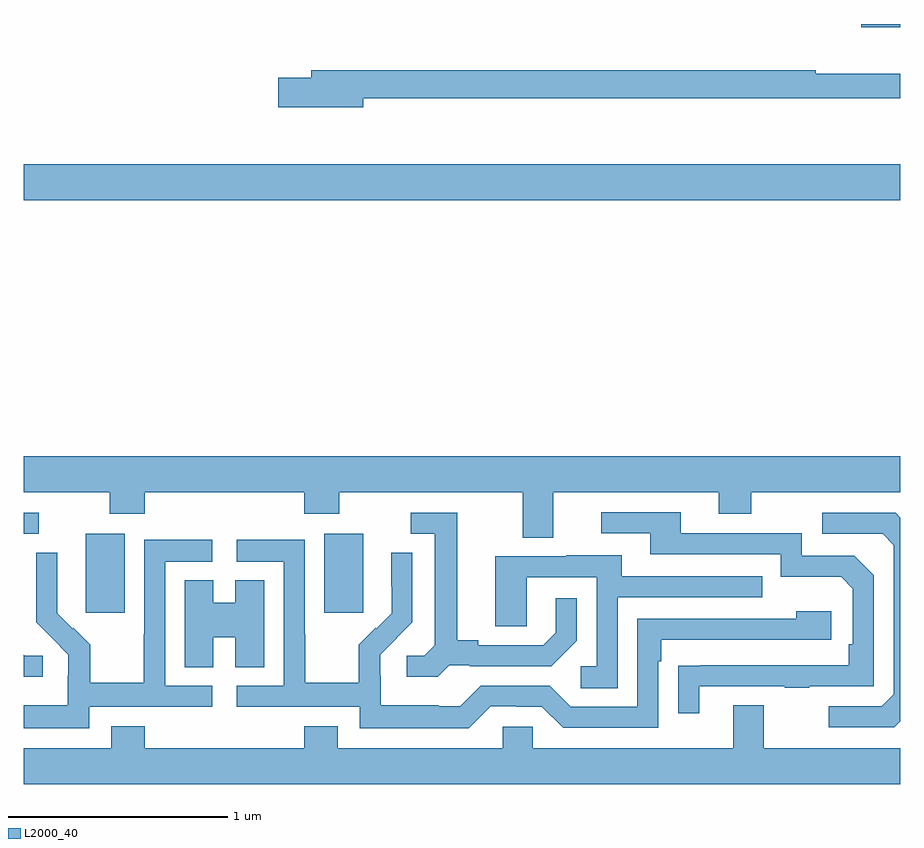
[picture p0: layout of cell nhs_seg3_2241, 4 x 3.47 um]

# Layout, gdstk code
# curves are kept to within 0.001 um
import gdstk
lib = gdstk.Library(unit=1e-6, precision=1e-09)
def R(c, l, rs):  # rectangles x0, y0, x1, y1
    for r in rs: c.add(gdstk.rectangle(r[:2], r[2:], *l))
def P(c, l, *ps):  # polygons
    for p in ps: c.add(gdstk.Polygon(p, *l))
L2000_40 = (2000, 40)

nhs_seg3_2241 = lib.new_cell('nhs_seg3_2241')
R(nhs_seg3_2241, L2000_40, [(227.282,685.713,227.461,686.074), (228.371,685.713,228.55,686.074), (227,686.073,227.068,686.169), (227,687.596,231,687.76), (230.822,688.386,231,688.4)])
P(nhs_seg3_2241, L2000_40, [(228.55,688.062),(231,688.062),(231,688.172),(230.615,688.172),(230.615,688.19),(228.311,688.19),(228.311,688.154),(228.162,688.154),(228.162,688.019),(228.55,688.019)],
  [(229.417,686.264),(230.171,686.264),(230.171,686.165),(230.319,686.165),(230.319,686.264),(231,686.264),(231,686.428),(227,686.428),(227,686.264),(227.392,686.264),(227.392,686.165),(227.552,686.165),(227.552,686.264),(228.281,686.264),(228.281,686.165),(228.441,686.165),(228.441,686.264),(229.277,686.264),(229.277,686.056),(229.417,686.056)],
  [(230.083,685.377),(230.473,685.377),(230.473,685.372),(230.585,685.372),(230.585,685.377),(230.88,685.377),(230.88,685.884),(230.79,685.974),(230.55,685.974),(230.55,686.076),(229.999,686.076),(229.999,686.172),(229.635,686.172),(229.635,686.076),(229.859,686.076),(229.859,685.98),(230.454,685.98),(230.454,685.877),(230.731,685.877),(230.784,685.824),(230.784,685.57),(230.764,685.57),(230.764,685.473),(229.987,685.472),(229.987,685.254),(230.083,685.254)],
  [(231,685.218),(231,686.148),(230.979,686.169),(230.643,686.169),(230.643,686.073),(230.919,686.073),(230.97,686.022),(230.97,685.341),(230.916,685.287),(230.673,685.287),(230.673,685.191),(230.973,685.191)],
  [(228.942,685.473),(229.036,685.473),(229.036,685.47),(229.408,685.47),(229.524,685.586),(229.524,685.78),(229.427,685.78),(229.427,685.623),(229.37,685.566),(229.075,685.566),(229.075,685.589),(228.979,685.589),(228.979,686.169),(228.765,686.169),(228.765,686.073),(228.875,686.073),(228.875,685.565),(228.828,685.518),(228.747,685.518),(228.747,685.421),(228.89,685.421)],
  [(229.131,685.287),(229.247,685.287),(229.247,685.284),(229.365,685.284),(229.461,685.188),(229.896,685.188),(229.896,685.493),(229.909,685.493),(229.909,685.59),(230.686,685.59),(230.686,685.72),(230.525,685.72),(230.525,685.686),(229.8,685.686),(229.8,685.284),(229.497,685.284),(229.401,685.38),(229.086,685.38),(228.993,685.287),(228.893,685.287),(228.893,685.291),(228.63,685.291),(228.63,685.425),(228.628,685.425),(228.628,685.522),(228.774,685.67),(228.774,685.988),(228.678,685.988),(228.678,685.834),(228.68,685.834),(228.68,685.712),(228.609,685.641),(228.606,685.644),(228.529,685.567),(228.529,685.393),(228.285,685.393),(228.285,685.616),(228.282,685.616),(228.282,686.046),(227.973,686.046),(227.973,685.947),(228.186,685.947),(228.186,685.38),(227.973,685.38),(227.973,685.284),(228.534,685.284),(228.534,685.187),(229.031,685.187)],
  [(227.298,685.284),(227.86,685.284),(227.86,685.38),(227.646,685.38),(227.646,685.947),(227.86,685.947),(227.86,686.046),(227.55,686.046),(227.55,685.616),(227.548,685.616),(227.548,685.393),(227.303,685.393),(227.303,685.567),(227.226,685.644),(227.223,685.641),(227.153,685.712),(227.154,685.988),(227.058,685.988),(227.058,685.67),(227.204,685.522),(227.204,685.425),(227.202,685.425),(227.202,685.291),(227,685.291),(227,685.187),(227.298,685.187)],
  [(229.71,685.785),(230.369,685.785),(230.369,685.881),(229.729,685.881),(229.729,685.975),(229.475,685.975),(229.475,685.971),(229.151,685.971),(229.151,685.651),(229.296,685.651),(229.296,685.875),(229.614,685.875),(229.614,685.47),(229.542,685.47),(229.542,685.369),(229.71,685.369)],
  [(227.866,685.601),(227.966,685.601),(227.966,685.465),(228.097,685.465),(228.097,685.862),(227.966,685.862),(227.966,685.759),(227.866,685.759),(227.866,685.862),(227.735,685.862),(227.735,685.465),(227.866,685.465)],
  [(227.086,685.518),(227.004,685.518),(227,685.522),(227,685.421),(227.086,685.421)],
  [(231,685.096),(230.377,685.096),(230.377,685.291),(230.237,685.291),(230.237,685.096),(229.323,685.096),(229.323,685.194),(229.185,685.194),(229.185,685.096),(228.433,685.096),(228.433,685.195),(228.281,685.195),(228.281,685.096),(227.552,685.096),(227.552,685.195),(227.399,685.195),(227.399,685.096),(227,685.096),(227,684.932),(231,684.932)])

lib.write_gds('nhs_seg3_2241.gds')
